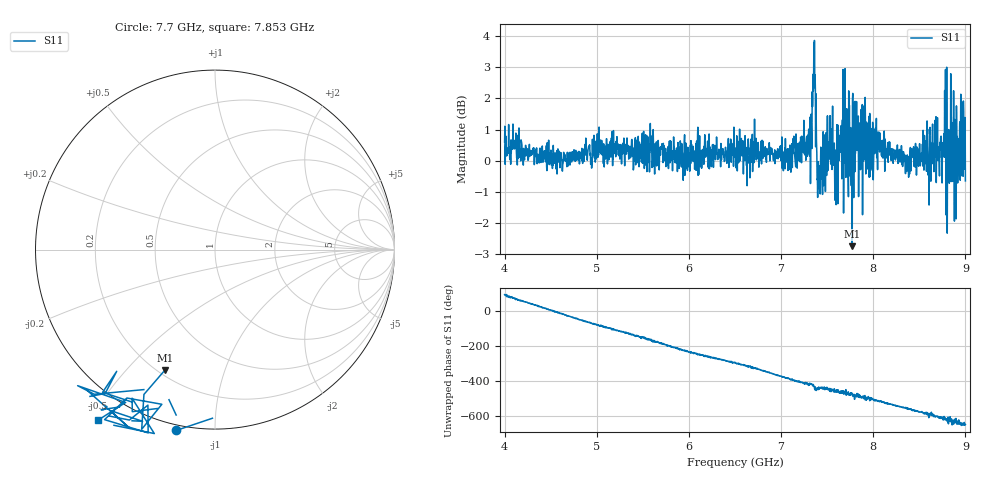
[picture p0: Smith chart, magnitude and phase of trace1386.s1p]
! Created with skrf 1.8.0 (http://scikit-rf.org).
# Hz S RI R 50.0
!freq ReS11 ImS11
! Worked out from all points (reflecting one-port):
!   1601 points, 4 GHz to 9 GHz, reference 50 ohm
!   lowest |S11| = -2.8 dB at 7.772 GHz (marker M1), VSWR 6.35, Z = 11.2 - j32.2 ohm
!   phase of S11 starts at 94 deg and turns -745 deg over the sweep
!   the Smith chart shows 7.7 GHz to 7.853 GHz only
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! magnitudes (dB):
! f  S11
! 4 GHz  0.6
! 4.625 GHz  -0.3
! 5.25 GHz  0.1
! 5.875 GHz  -0.4
! 6.5 GHz  0.3
! 7.125 GHz  0.5
! 7.294 GHz  0.8
! 7.356 GHz  3.8
! 7.369 GHz  2.8
! 7.4 GHz  -0.2
! 7.416 GHz  -0.6
! 7.509 GHz  -0.3
! 7.553 GHz  -0.3
! 7.591 GHz  0.3
! 7.669 GHz  0.4
! 7.75 GHz  -0.5
! 7.772 GHz  -2.8
! 7.8 GHz  -0.4
! 7.928 GHz  1.2
! 8.375 GHz  -0.3
! 8.566 GHz  0.0
! 8.612 GHz  0.9
! 8.656 GHz  0.6
! 8.738 GHz  0.8
! 8.775 GHz  2.3
! 8.906 GHz  0.8
! 8.972 GHz  0.9
! 9 GHz  -0.7
